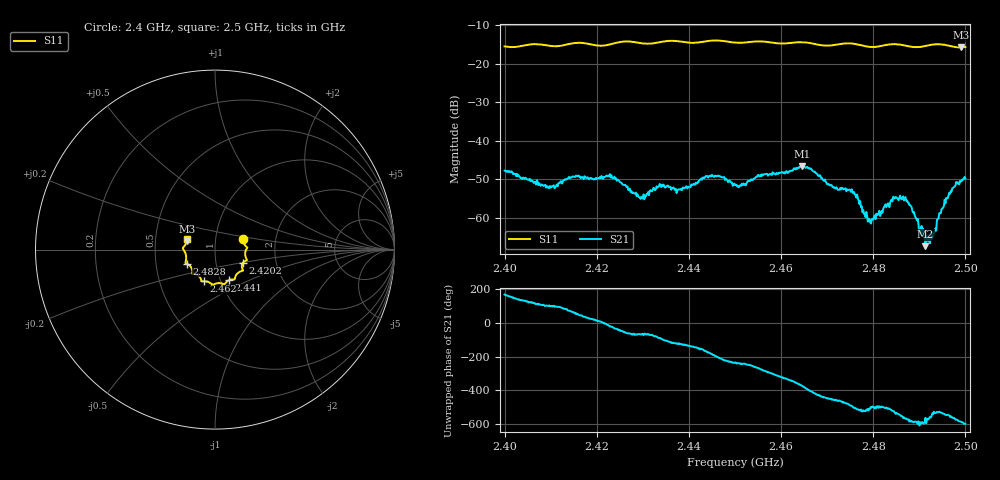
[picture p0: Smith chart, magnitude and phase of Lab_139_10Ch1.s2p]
# Hz S RI R 50
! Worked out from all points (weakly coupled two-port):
!   601 points, 2.4 GHz to 2.5 GHz, reference 50 ohm
!   highest |S21| = -46.58 dB at 2.4645 GHz (marker M1); lowest = -67.3 dB at 2.4913 GHz (marker M2)
!   lowest |S11| = -15.8 dB at 2.499 GHz (marker M3), VSWR 1.39, Z = 36.4 + j3.61 ohm
!   |S11| at or under -10 dB: start of sweep to end of sweep
!   S12 and S22 are empty: the file has one direction only
!   S11 on the Smith chart (normalised r, x): 2.4 GHz: 1.36, +0.17; 2.4202 GHz: 1.36, -0.20; 2.441 GHz: 1.10, -0.39; 2.462 GHz: 0.83, -0.30; 2.4828 GHz: 0.72, -0.12; 2.5 GHz: 0.73, +0.09
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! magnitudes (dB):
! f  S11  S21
! 2.4 GHz  -15.5  -47.7
! 2.4095 GHz  -15.3  -52.2
! 2.4167 GHz  -14.6  -49.4
! 2.4202 GHz  -15.3  -49.8
! 2.4295 GHz  -14.6  -55.1
! 2.4333 GHz  -14.5  -51.9
! 2.441 GHz  -14.6  -51.2
! 2.4462 GHz  -13.9  -49.1
! 2.45 GHz  -14.5  -51.4
! 2.462 GHz  -14.6  -47.8
! 2.4645 GHz  -14.4  -46.6
! 2.4667 GHz  -14.7  -47.5
! 2.4755 GHz  -14.7  -53.3
! 2.4793 GHz  -15.6  -61.2
! 2.4828 GHz  -15.1  -57.2
! 2.4833 GHz  -15.0  -56.3
! 2.4868 GHz  -15.2  -55.0
! 2.4913 GHz  -15.4  -67.3
! 2.4932 GHz  -15.0  -63.9
! 2.496 GHz  -15.2  -54.9
! 2.499 GHz  -15.8  -50.6
! 2.5 GHz  -15.6  -49.8
